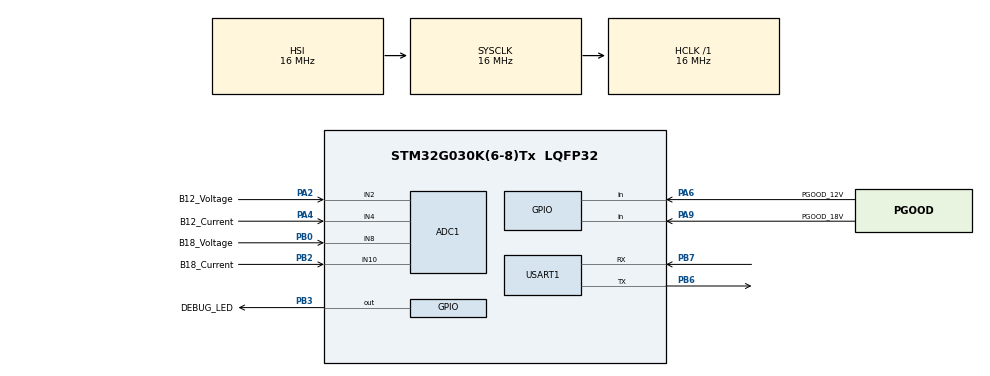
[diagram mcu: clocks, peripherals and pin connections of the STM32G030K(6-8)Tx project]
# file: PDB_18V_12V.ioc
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ADC1.Channel-1\#ChannelRegularConversion=ADC_CHANNEL_2
ADC1.NbrOfConversionFlag=1
ADC1.Rank-1\#ChannelRegularConversion=1
ADC1.SamplingTime-1\#ChannelRegularConversion=ADC_SAMPLINGTIME_COMMON_1
ADC1.SamplingTimeCommon1=ADC_SAMPLETIME_160CYCLES_5
ADC1.SamplingTimeCommon2=ADC_SAMPLETIME_160CYCLES_5
ADC1.SelectedChannel=ADC_CHANNEL_2|ADC_CHANNEL_4|ADC_CHANNEL_8|ADC_CHANNEL_10
ADC1.TriggerFrequencyMode=ADC_TRIGGER_FREQ_LOW
ADC1.master=1
Mcu.Family=STM32G0
Mcu.Name=STM32G030K(6-8)Tx
Mcu.Package=LQFP32
PA13.Mode=Serial_Wire
PA13.Signal=SYS_SWDIO
PA14-BOOT0.Mode=Serial_Wire
PA14-BOOT0.Signal=SYS_SWCLK
PA2.GPIO_Label=B12_Voltage
PA2.Mode=IN2
PA2.Signal=ADC1_IN2
PA4.GPIO_Label=B12_Current
PA4.Mode=IN4
PA4.Signal=ADC1_IN4
PA6.GPIO_Label=PGOOD_12V
PA6.Signal=GPIO_Input
PA9.GPIO_Label=PGOOD_18V
PA9.Signal=GPIO_Input
PB0.GPIO_Label=B18_Voltage
PB0.Mode=IN8
PB0.Signal=ADC1_IN8
PB2.GPIO_Label=B18_Current
PB2.Mode=IN10
PB2.Signal=ADC1_IN10
PB3.GPIO_Label=DEBUG_LED
PB3.Signal=GPIO_Output
PB6.Mode=Asynchronous
PB6.Signal=USART1_TX
PB7.Mode=Asynchronous
PB7.Signal=USART1_RX
ProjectManager.HeapSize=0x200
ProjectManager.StackSize=0x400
ProjectManager.TargetToolchain=CMake
RCC.AHBFreq_Value=16000000
RCC.CortexFreq_Value=16000000
RCC.EXTERNAL_CLOCK_VALUE=12288000
RCC.HCLKFreq_Value=16000000
RCC.HSE_VALUE=8000000
RCC.HSI_VALUE=16000000
RCC.LSE_VALUE=32768
RCC.SYSCLKFreq_VALUE=16000000
RCC.VCOOutputFreq_Value=128000000
USART1.VirtualMode-Asynchronous=VM_ASYNC
board=custom

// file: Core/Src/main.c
/* USER CODE BEGIN Header */
/**
  ******************************************************************************
  * @file           : main.c
  * @brief          : Main program body
  ******************************************************************************
  * @attention
  *
  * Copyright (c) 2026 STMicroelectronics.
  * All rights reserved.
  *
  * This software is licensed under terms that can be found in the LICENSE file
  * in the root directory of this software component.
  * If no LICENSE file comes with this software, it is provided AS-IS.
  *
  ******************************************************************************
  */
/* USER CODE END Header */
#include "main.h"

/* USER CODE BEGIN Includes */
#include <stdio.h>
#include <string.h>
/* USER CODE END Includes */

/* USER CODE BEGIN PD */
#define ADC_VREF        3.3f
#define ADC_MAX         4095.0f

#define SENSOR_VZERO    1.65f
#define SENSOR_SENS     0.050f
/* USER CODE END PD */

ADC_HandleTypeDef hadc1;

UART_HandleTypeDef huart1;

void SystemClock_Config(void);
static void MX_GPIO_Init(void);
static void MX_USART1_UART_Init(void);
static void MX_ADC1_Init(void);
/* USER CODE BEGIN PFP */
uint32_t Read_ADC_Channel(uint32_t channel);
/* USER CODE END PFP */

/* USER CODE BEGIN 0 */
uint32_t Read_ADC_Channel(uint32_t channel)
{
    ADC_ChannelConfTypeDef sConfig = {0};

    // Remember which channel was selected previously.
    // CubeMX initially configures Channel 2.
    static uint32_t previous_channel = ADC_CHANNEL_2;

    // Step 1: Disable the previous channel
    sConfig.Channel = previous_channel;
    sConfig.Rank = ADC_RANK_NONE;
    sConfig.SamplingTime = ADC_SAMPLINGTIME_COMMON_1;

    if (HAL_ADC_ConfigChannel(&hadc1, &sConfig) != HAL_OK)
    {
        Error_Handler();
    }

    // Step 2: Select the new channel
    sConfig.Channel = channel;
    sConfig.Rank = ADC_REGULAR_RANK_1;
    sConfig.SamplingTime = ADC_SAMPLINGTIME_COMMON_1;

    if (HAL_ADC_ConfigChannel(&hadc1, &sConfig) != HAL_OK)
    {
        Error_Handler();
    }

    previous_channel = channel;

    // Step 3: Start ADC conversion
    if (HAL_ADC_Start(&hadc1) != HAL_OK)
    {
        Error_Handler();
    }

    // Step 4: Wait for conversion to complete
    if (HAL_ADC_PollForConversion(&hadc1, 100) != HAL_OK)
    {
        HAL_ADC_Stop(&hadc1);
        Error_Handler();
    }

    // Step 5: Retrieve the ADC reading
    uint32_t adc_value = HAL_ADC_GetValue(&hadc1);

    // Step 6: Stop the ADC
    if (HAL_ADC_Stop(&hadc1) != HAL_OK)
    {
        Error_Handler();
    }

    return adc_value;
}
/* USER CODE END 0 */

int main(void)
{

  /* MCU Configuration--------------------------------------------------------*/

  /* Reset of all peripherals, Initializes the Flash interface and the Systick. */
  HAL_Init();

  /* Configure the system clock */
  SystemClock_Config();

  /* Initialize all configured peripherals */
  MX_GPIO_Init();
  MX_USART1_UART_Init();
  MX_ADC1_Init();
  /* USER CODE BEGIN 2 */
  if (HAL_ADCEx_Calibration_Start(&hadc1) != HAL_OK)
{
    Error_Handler();
}
  /* USER CODE END 2 */

  /* Infinite loop */
  while (1)
  {

    /* USER CODE BEGIN 3 */

    // 1. READ BOTH CURRENT SENSORS
    uint32_t adc_18V = Read_ADC_Channel(ADC_CHANNEL_10);
    uint32_t adc_12V = Read_ADC_Channel(ADC_CHANNEL_4);

    // 2. CONVERT ADC READINGS TO VOLTAGE
    float voltage_18V =
        ((float)adc_18V / ADC_MAX) * ADC_VREF;

    float voltage_12V =
        ((float)adc_12V / ADC_MAX) * ADC_VREF;

    // 3. CALCULATE CURRENT IN AMPERES
    float current_18V =
        (voltage_18V - SENSOR_VZERO) / SENSOR_SENS;

    float current_12V =
        (voltage_12V - SENSOR_VZERO) / SENSOR_SENS;

    // 4. CONVERT AMPERES TO MILLIAMPERES
    int32_t current_18V_mA =
        (int32_t)(current_18V * 1000.0f);

    int32_t current_12V_mA =
        (int32_t)(current_12V * 1000.0f);

    //format UART message
    char uart_message[150];

    snprintf(
        uart_message,
        sizeof(uart_message),
        "18V Current: %ld mA | 12V Current: %ld mA\r\n",
        (long)current_18V_mA,
        (long)current_12V_mA
    );

    // 6. TRANSMIT THROUGH UART
    HAL_UART_Transmit(
        &huart1,
        (uint8_t *)uart_message,
        strlen(uart_message),
        100
    );

    // 7. WAIT 500 MILLISECONDS
    HAL_Delay(500);
  }
  /* USER CODE END 3 */
}

void SystemClock_Config(void)
{
  RCC_OscInitTypeDef RCC_OscInitStruct = {0};
  RCC_ClkInitTypeDef RCC_ClkInitStruct = {0};

  /** Configure the main internal regulator output voltage
  */
  HAL_PWREx_ControlVoltageScaling(PWR_REGULATOR_VOLTAGE_SCALE1);

  /** Initializes the RCC Oscillators according to the specified parameters
  * in the RCC_OscInitTypeDef structure.
  */
  RCC_OscInitStruct.OscillatorType = RCC_OSCILLATORTYPE_HSI;
  RCC_OscInitStruct.HSIState = RCC_HSI_ON;
  RCC_OscInitStruct.HSIDiv = RCC_HSI_DIV1;
  RCC_OscInitStruct.HSICalibrationValue = RCC_HSICALIBRATION_DEFAULT;
  RCC_OscInitStruct.PLL.PLLState = RCC_PLL_NONE;
  if (HAL_RCC_OscConfig(&RCC_OscInitStruct) != HAL_OK)
  {
    Error_Handler();
  }

  /** Initializes the CPU, AHB and APB buses clocks
  */
  RCC_ClkInitStruct.ClockType = RCC_CLOCKTYPE_HCLK|RCC_CLOCKTYPE_SYSCLK
                              |RCC_CLOCKTYPE_PCLK1;
  RCC_ClkInitStruct.SYSCLKSource = RCC_SYSCLKSOURCE_HSI;
  RCC_ClkInitStruct.AHBCLKDivider = RCC_SYSCLK_DIV1;
  RCC_ClkInitStruct.APB1CLKDivider = RCC_HCLK_DIV1;

  if (HAL_RCC_ClockConfig(&RCC_ClkInitStruct, FLASH_LATENCY_0) != HAL_OK)
  {
    Error_Handler();
  }
}

static void MX_ADC1_Init(void)
{

  ADC_ChannelConfTypeDef sConfig = {0};

  /** Configure the global features of the ADC (Clock, Resolution, Data Alignment and number of conversion)
  */
  hadc1.Instance = ADC1;
  hadc1.Init.ClockPrescaler = ADC_CLOCK_SYNC_PCLK_DIV2;
  hadc1.Init.Resolution = ADC_RESOLUTION_12B;
  hadc1.Init.DataAlign = ADC_DATAALIGN_RIGHT;
  hadc1.Init.ScanConvMode = ADC_SCAN_DISABLE;
  hadc1.Init.EOCSelection = ADC_EOC_SINGLE_CONV;
  hadc1.Init.LowPowerAutoWait = DISABLE;
  hadc1.Init.LowPowerAutoPowerOff = DISABLE;
  hadc1.Init.ContinuousConvMode = DISABLE;
  hadc1.Init.NbrOfConversion = 1;
  hadc1.Init.DiscontinuousConvMode = DISABLE;
  hadc1.Init.ExternalTrigConv = ADC_SOFTWARE_START;
  hadc1.Init.ExternalTrigConvEdge = ADC_EXTERNALTRIGCONVEDGE_NONE;
  hadc1.Init.DMAContinuousRequests = DISABLE;
  hadc1.Init.Overrun = ADC_OVR_DATA_PRESERVED;
  hadc1.Init.SamplingTimeCommon1 = ADC_SAMPLETIME_160CYCLES_5;
  hadc1.Init.SamplingTimeCommon2 = ADC_SAMPLETIME_160CYCLES_5;
  hadc1.Init.OversamplingMode = DISABLE;
  hadc1.Init.TriggerFrequencyMode = ADC_TRIGGER_FREQ_LOW;
  if (HAL_ADC_Init(&hadc1) != HAL_OK)
  {
    Error_Handler();
  }

  /** Configure Regular Channel
  */
  sConfig.Channel = ADC_CHANNEL_2;
  sConfig.Rank = ADC_REGULAR_RANK_1;
  sConfig.SamplingTime = ADC_SAMPLINGTIME_COMMON_1;
  if (HAL_ADC_ConfigChannel(&hadc1, &sConfig) != HAL_OK)
  {
    Error_Handler();
  }

}

static void MX_USART1_UART_Init(void)
{

  huart1.Instance = USART1;
  huart1.Init.BaudRate = 115200;
  huart1.Init.WordLength = UART_WORDLENGTH_8B;
  huart1.Init.StopBits = UART_STOPBITS_1;
  huart1.Init.Parity = UART_PARITY_NONE;
  huart1.Init.Mode = UART_MODE_TX_RX;
  huart1.Init.HwFlowCtl = UART_HWCONTROL_NONE;
  huart1.Init.OverSampling = UART_OVERSAMPLING_16;
  huart1.Init.OneBitSampling = UART_ONE_BIT_SAMPLE_DISABLE;
  huart1.Init.ClockPrescaler = UART_PRESCALER_DIV1;
  huart1.AdvancedInit.AdvFeatureInit = UART_ADVFEATURE_NO_INIT;
  if (HAL_UART_Init(&huart1) != HAL_OK)
  {
    Error_Handler();
  }
  if (HAL_UARTEx_SetTxFifoThreshold(&huart1, UART_TXFIFO_THRESHOLD_1_8) != HAL_OK)
  {
    Error_Handler();
  }
  if (HAL_UARTEx_SetRxFifoThreshold(&huart1, UART_RXFIFO_THRESHOLD_1_8) != HAL_OK)
  {
    Error_Handler();
  }
  if (HAL_UARTEx_DisableFifoMode(&huart1) != HAL_OK)
  {
    Error_Handler();
  }

}

static void MX_GPIO_Init(void)
{
  GPIO_InitTypeDef GPIO_InitStruct = {0};

  /* GPIO Ports Clock Enable */
  __HAL_RCC_GPIOA_CLK_ENABLE();
  __HAL_RCC_GPIOB_CLK_ENABLE();

  /*Configure GPIO pin Output Level */
  HAL_GPIO_WritePin(DEBUG_LED_GPIO_Port, DEBUG_LED_Pin, GPIO_PIN_RESET);

  /*Configure GPIO pins : PGOOD_12V_Pin PGOOD_18V_Pin */
  GPIO_InitStruct.Pin = PGOOD_12V_Pin|PGOOD_18V_Pin;
  GPIO_InitStruct.Mode = GPIO_MODE_INPUT;
  GPIO_InitStruct.Pull = GPIO_NOPULL;
  HAL_GPIO_Init(GPIOA, &GPIO_InitStruct);

  /*Configure GPIO pin : DEBUG_LED_Pin */
  GPIO_InitStruct.Pin = DEBUG_LED_Pin;
  GPIO_InitStruct.Mode = GPIO_MODE_OUTPUT_PP;
  GPIO_InitStruct.Pull = GPIO_NOPULL;
  GPIO_InitStruct.Speed = GPIO_SPEED_FREQ_LOW;
  HAL_GPIO_Init(DEBUG_LED_GPIO_Port, &GPIO_InitStruct);

}

void Error_Handler(void)
{
  __disable_irq();
  while (1)
  {
  }
}
